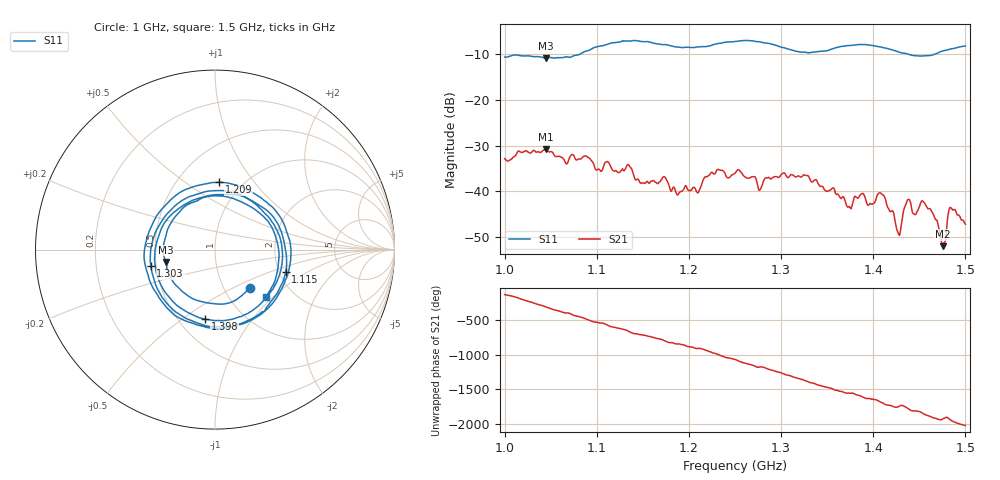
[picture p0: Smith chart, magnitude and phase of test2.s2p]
# HZ S RI R 50
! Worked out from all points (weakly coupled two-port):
!   505 points, 1 GHz to 1.5 GHz, reference 50 ohm
!   highest |S21| = -30.82 dB at 1.045 GHz (marker M1); lowest = -52.0 dB at 1.475 GHz (marker M2)
!   lowest |S11| = -11.0 dB at 1.045 GHz (marker M3), VSWR 1.79, Z = 28.3 - j4.21 ohm
!   |S11| at or under -10 dB: start of sweep to 1.082 GHz; 1.437 GHz to 1.468 GHz (31.47 MHz wide, 2.17 % of centre)
!   S12 and S22 are empty: the file has one direction only
!   S11 on the Smith chart (normalised r, x): 1 GHz: 1.33, -0.62; 1.115 GHz: 2.16, -0.65; 1.209 GHz: 0.79, +0.69; 1.303 GHz: 0.47, -0.10; 1.398 GHz: 0.67, -0.62; 1.5 GHz: 1.45, -0.90
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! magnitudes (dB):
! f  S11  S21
! 1 GHz  -10.7  -32.9
! 1.045 GHz  -11.0  -30.8
! 1.083 GHz  -9.9  -32.8
! 1.115 GHz  -7.7  -34.6
! 1.167 GHz  -7.8  -38.3
! 1.209 GHz  -8.5  -40.4
! 1.25 GHz  -7.3  -36.0
! 1.277 GHz  -7.4  -39.8
! 1.303 GHz  -8.6  -36.0
! 1.333 GHz  -9.7  -38.0
! 1.374 GHz  -8.2  -43.3
! 1.388 GHz  -8.0  -40.5
! 1.398 GHz  -8.1  -42.8
! 1.408 GHz  -8.5  -40.3
! 1.417 GHz  -8.9  -43.8
! 1.428 GHz  -9.6  -49.4
! 1.437 GHz  -10.0  -41.8
! 1.444 GHz  -10.4  -45.0
! 1.454 GHz  -10.5  -42.3
! 1.475 GHz  -9.4  -52.0
! 1.484 GHz  -8.9  -43.5
! 1.5 GHz  -8.3  -47.2
